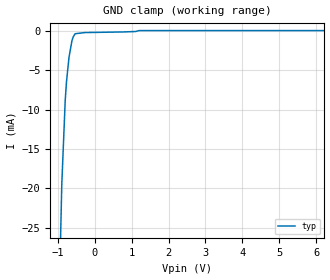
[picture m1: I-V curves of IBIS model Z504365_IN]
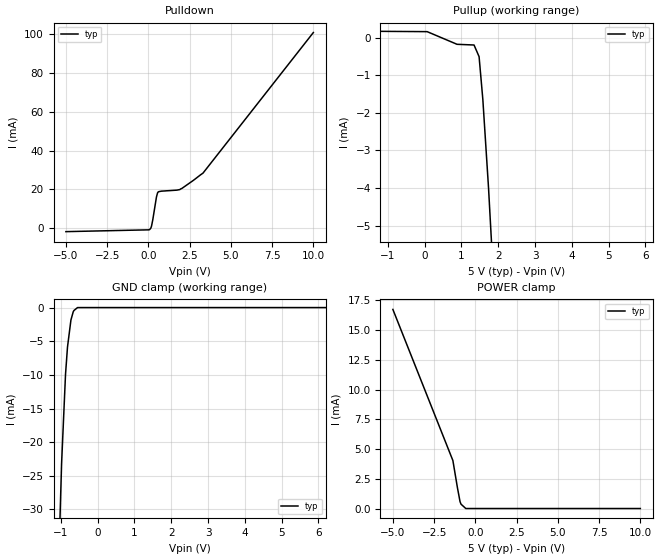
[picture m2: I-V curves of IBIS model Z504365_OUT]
| YOU ARE ONLY AUTHORIZED TO USE THIS SOFTWARE
| ACCORDING TO LICENSOR'S LICENSE RESTRICTIONS.
[IBIS Ver] 3.1
[File Name] sn54ls10j.ibs
[File Rev] 2.0
[Source] Measured and created by ICX Technology
[Date] Friday 7/14/00 9:08:13 AM
[Copyright]
| (C) COPYRIGHT 1993-2000
| MENTOR GRAPHICS CORPORATION
| ICX STANDARD LIBRARY, ICX PROJECT MODELING,
| ICX CUSTOM MODELING, ICX VENDOR MODEL
| ALL RIGHTS RESERVED.
| THE FOLLOWING ARE TRADEMARKS OR SERVICE MARKS OF
| MENTOR GRAPHICS CORPORATION:ICX (R), ICX STANDARD
| LIBRARY(R), ICX PROJECT MODELING(R), ICX CUSTOM
| MODELING(R), qualityIBIS(TM), MODELVIEWER(TM),
| AND MODELEDITOR(TM)
| ALL COPIES OF SOFTWARE, INCLUDING BUT NOT LIMITED TO
| ANY MODIFICATIONS, ENHANCEMENTS OR DERIVATIVE WORKS,
| MUST CONTAIN ALL MENTOR GRAPHICS CORPORATION'S
| NOTICES AND LEGENDS, INCLUDING THOSE EMBEDDED IN
| SOFTWARE AND THOSE AFFIXED TO SOFTWARE MEDIUM
| AND CONTAINER, AS RECEIVED FROM MENTOR GRAPHICS
| CORPORATION.
|  ZAP Model Builder 2.7
[Component] SN54LS10J
[Manufacturer] OnSemiconductor
[Package]
| variable   typ   min   max
R_pkg  .21ohms NA NA
L_pkg  4.543nH NA NA
C_pkg  1.8pF NA NA
[Pin] signal_name  model_name  R_pin  L_pin C_pin
1 A Z504365_IN .22 6.757n 2.434p
2 B Z504365_IN .212 4.757n 1.941p
3 A Z504365_IN .204 3.257n 1.448p
4 B Z504365_IN .196 2.257n .955p
5 C Z504365_IN .204 3.257n 1.448p
6 Y Z504365_OUT .212 4.757n 1.941p
7 GND GND .22 6.757n 2.434p
8 Y Z504365_OUT .22 6.757n 2.434p
9 A Z504365_IN .212 4.757n 1.941p
10 B Z504365_IN .204 3.257n 1.448p
11 C Z504365_IN .196 2.257n .955p
12 Y Z504365_OUT .204 3.257n 1.448p
13 C Z504365_IN .212 4.757n 1.941p
14 VCC POWER .22 6.757n 2.434p
| Models and submodels in the file (2): Z504365_IN (Input), Z504365_OUT (Output)
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| (C) COPYRIGHT 1993-2000
| MENTOR GRAPHICS CORPORATION
| ICX STANDARD LIBRARY, ICX PROJECT MODELING,
| ICX CUSTOM MODELING, ICX VENDOR MODEL
| ALL RIGHTS RESERVED.
| THE FOLLOWING ARE TRADEMARKS OR SERVICE MARKS OF
| MENTOR GRAPHICS CORPORATION:ICX (R), ICX STANDARD
| LIBRARY(R), ICX PROJECT MODELING(R), ICX CUSTOM
| MODELING(R), qualityIBIS(TM), MODELVIEWER(TM),
| AND MODELEDITOR(TM)
| ALL COPIES OF SOFTWARE, INCLUDING BUT NOT LIMITED TO
| ANY MODIFICATIONS, ENHANCEMENTS OR DERIVATIVE WORKS,
| MUST CONTAIN ALL MENTOR GRAPHICS CORPORATION'S
| NOTICES AND LEGENDS, INCLUDING THOSE EMBEDDED IN
| SOFTWARE AND THOSE AFFIXED TO SOFTWARE MEDIUM
| AND CONTAINER, AS RECEIVED FROM MENTOR GRAPHICS
| CORPORATION.
| Model Application Version 1.89 2/18/99.
[Model] Z504365_IN
Model_type Input
Vinl = 800.0mV
Vinh = 2.000V
C_comp 4.000pF NA NA
| variable typ   min   max
[Voltage Range] 5.000V NA NA
[GND Clamp Reference] 0.000V NA NA
[POWER Clamp Reference] 5.000V NA NA
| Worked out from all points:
|   GND clamp passes 1 mA (typ) near -0.59 V on its own axis
[GND Clamp]
-5V       -862mA     NA         NA
-888.5mV  -19.48mA   NA         NA
-795.9mV  -8.87mA    NA         NA
-761.7mV  -6.495mA   NA         NA
-693.5mV  -3.392mA   NA         NA
-614.7mV  -1.304mA   NA         NA
-580.9mV  -806.6uA   NA         NA
-527.3mV  -395.9uA   NA         NA
-263.7mV  -248.1uA   NA         NA
1.105V    -115.7uA   NA         NA
1.208V    3.655uA    NA         NA
10V       3.655uA    NA         NA
[POWER Clamp]
-5V       0A         NA         NA
10V       0A         NA         NA
| (C) COPYRIGHT 1993-2000
| MENTOR GRAPHICS CORPORATION
| ICX STANDARD LIBRARY, ICX PROJECT MODELING,
| ICX CUSTOM MODELING, ICX VENDOR MODEL
| ALL RIGHTS RESERVED.
| THE FOLLOWING ARE TRADEMARKS OR SERVICE MARKS OF
| MENTOR GRAPHICS CORPORATION:ICX (R), ICX STANDARD
| LIBRARY(R), ICX PROJECT MODELING(R), ICX CUSTOM
| MODELING(R), qualityIBIS(TM), MODELVIEWER(TM),
| AND MODELEDITOR(TM)
| ALL COPIES OF SOFTWARE, INCLUDING BUT NOT LIMITED TO
| ANY MODIFICATIONS, ENHANCEMENTS OR DERIVATIVE WORKS,
| MUST CONTAIN ALL MENTOR GRAPHICS CORPORATION'S
| NOTICES AND LEGENDS, INCLUDING THOSE EMBEDDED IN
| SOFTWARE AND THOSE AFFIXED TO SOFTWARE MEDIUM
| AND CONTAINER, AS RECEIVED FROM MENTOR GRAPHICS
| CORPORATION.
| Model Application Version 1.89 2/18/99.
[Model] Z504365_OUT
Model_type Output
Vref=5.000V
Rref=2.000kohms
Cref=15.00pF
Vmeas=1.300V
C_comp 8.000pF NA NA
| variable typ   min   max
[Voltage Range] 5.000V NA NA
[POWER Clamp Reference] 5.000V NA NA
[Pullup Reference] 5.000V NA NA
[Pulldown Reference] 0.000V NA NA
[GND Clamp Reference] 0.000V NA NA
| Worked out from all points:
|   slope of the pulldown table from 0 to 0.75 V, typ, clamps not added: 37.8 ohm
|   slope of the pullup table from 0 to 0.75 V, typ, clamps not added: 2.65 kohm
|   GND clamp passes 1 mA (typ) near -0.68 V on its own axis
|   POWER clamp passes 1 mA (typ) near -0.99 V on its own axis
[GND Clamp]
-5V       -1A        NA         NA
-1.098V   -45.13mA   NA         NA
-980.8mV  -23.18mA   NA         NA
-873.9mV  -9.914mA   NA         NA
-820.2mV  -5.865mA   NA         NA
-726.9mV  -1.85mA    NA         NA
-664mV    -615.8uA   NA         NA
-644.5mV  -434.5uA   NA         NA
-547mV    -1.834uA   NA         NA
-364.7mV  0A         NA         NA
10V       0A         NA         NA
[Pulldown]
-5V       -1.701mA   NA         NA
87.89mV   -535.5uA   NA         NA
151.8mV   159.6uA    NA         NA
190.3mV   1.13mA     NA         NA
263.7mV   4.234mA    NA         NA
488.6mV   16.07mA    NA         NA
551.8mV   18.11mA    NA         NA
590.6mV   18.68mA    NA         NA
1.901V    19.92mA    NA         NA
3.31V     28.39mA    NA         NA
10V       100.7mA    NA         NA
[Pullup]
-5V       195.1uA    NA         NA
68mV      162.5uA    NA         NA
881mV     -174.5uA   NA         NA
1.343V    -193.2uA   NA         NA
1.48V     -502.8uA   NA         NA
1.582V    -1.638mA   NA         NA
1.738V    -4.015mA   NA         NA
10V       -152.2mA   NA         NA
[POWER Clamp]
-5V       16.75mA    NA         NA
-1.362V   4.036mA    NA         NA
-1.087V   1.755mA    NA         NA
-928mV    575.2uA    NA         NA
-869mV    366uA      NA         NA
-579.3mV  0A         NA         NA
10V       0A         NA         NA
[Ramp]
| variable typ min max
dV/dt_r 1.812/9.883n NA NA
dV/dt_f 1.812/2.650n NA NA
R_load = 500.0Ohms
